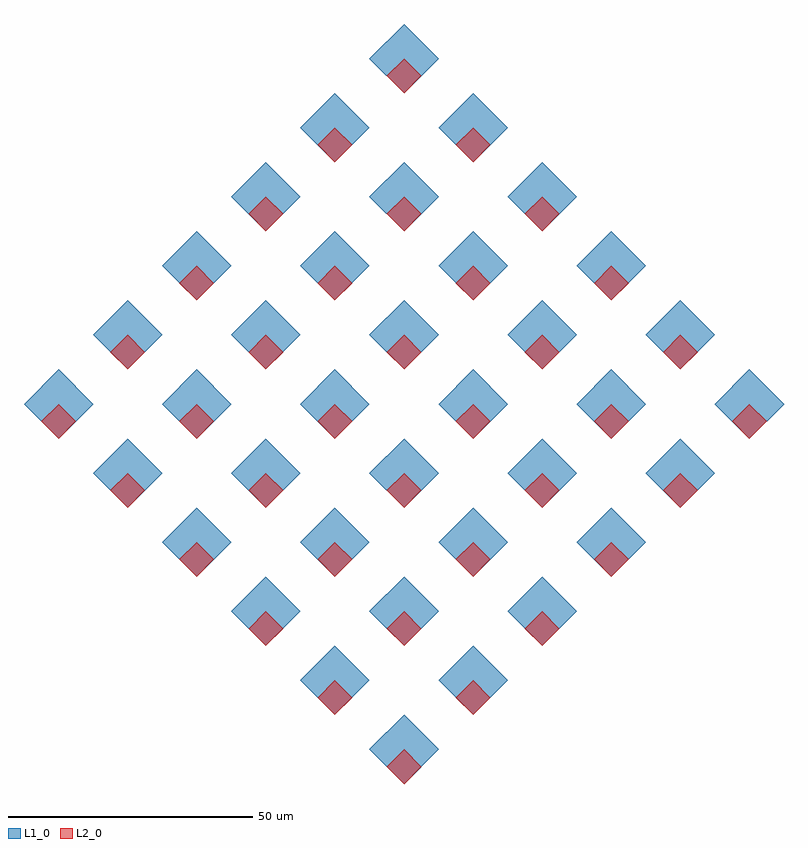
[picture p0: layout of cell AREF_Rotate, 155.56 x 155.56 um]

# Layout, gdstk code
from math import pi, radians
import gdstk
lib = gdstk.Library(unit=1e-6, precision=1e-09)
def R(c, l, rs):  # rectangles x0, y0, x1, y1
    for r in rs: c.add(gdstk.rectangle(r[:2], r[2:], *l))
L1_0 = (1, 0)
L2_0 = (2, 0)

box = lib.new_cell('box')
R(box, L1_0, [(-5,-5,5,5)])
R(box, L2_0, [(-5,-5,0,0)])

aref_rotate = lib.new_cell('AREF_Rotate')
r = gdstk.Reference(box, (10,10), rotation=radians(45)); r.repetition = gdstk.Repetition(6, 6, v1=(14.1422,14.1422), v2=(-14.1422,14.1422)); aref_rotate.add(r)

lib.write_gds('AREF_Rotate.gds')
